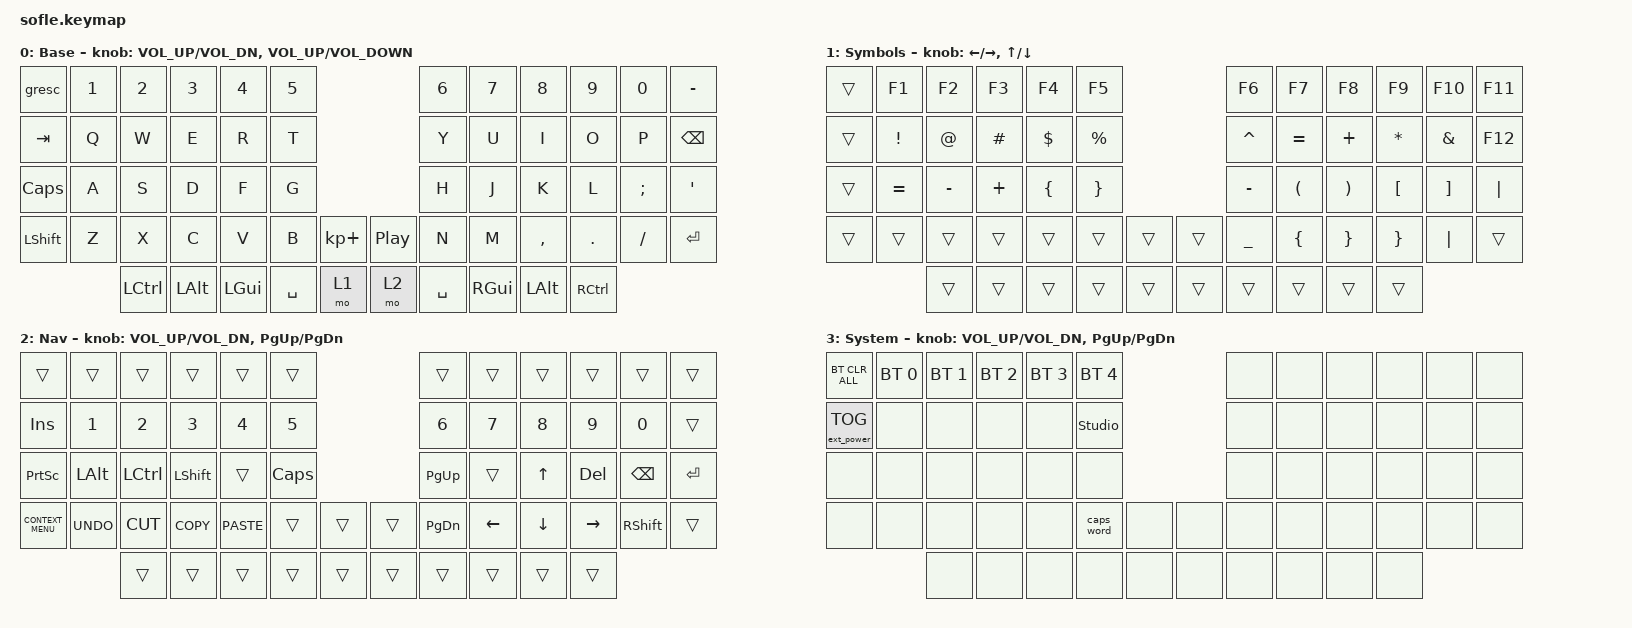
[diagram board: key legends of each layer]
/*
 * Copyright (c) 2020 The ZMK Contributors
 *
 * SPDX-License-Identifier: MIT
 */

#include <behaviors.dtsi>
#include <dt-bindings/zmk/bt.h>
#include <dt-bindings/zmk/ext_power.h>
#include <dt-bindings/zmk/keys.h>

#define BASE 0
#define LOWER 1
#define RAISE 2
#define ADJUST 3

/ {
    // Activate ADJUST layer by pressing raise and lower

    conditional_layers {
        compatible = "zmk,conditional-layers";

        adjust_layer {
            if-layers = <LOWER RAISE>;
            then-layer = <ADJUST>;
        };
    };

    combos {
        compatible = "zmk,combos";

        backspace {
            bindings = <&kp BACKSPACE>;
            key-positions = <32 31>;
        };

        delete {
            bindings = <&kp DELETE>;
            key-positions = <27 33>;
        };

        esc {
            bindings = <&kp ESCAPE>;
            key-positions = <25 41>;
        };
    };

    behaviors {
        caps: caps {
            compatible = "zmk,behavior-caps-word";
            label = "CAPS";
            #binding-cells = <0>;
            continue-list = <POUND MINUS BACKSPACE UNDERSCORE>;
        };
    };

    keymap {
        compatible = "zmk,keymap";

        default_layer {
            display-name = "Base";

            // ------------------------------------------------------------------------------------------------------------
            // |   `   |  1  |  2  |  3   |  4   |  5   |                   |  6   |  7    |  8    |  9   |   0   |       |
            // |  ESC  |  Q  |  W  |  E   |  R   |  T   |                   |  Y   |  U    |  I    |  O   |   P   | BKSPC |
            // |  TAB  |  A  |  S  |  D   |  F   |  G   |                   |  H   |  J    |  K    |  L   |   ;   |   '   |
            // | SHIFT |  Z  |  X  |  C   |  V   |  B   |  MUTE  |  |       |  N   |  M    |  ,    |  .   |   /   | SHIFT |
            //               | GUI | ALT  | CTRL | LOWER|  ENTER |  | SPACE | RAISE| CTRL  | ALT   | GUI  |

            bindings = <
&gresc          &kp N1  &kp N2     &kp N3    &kp N4    &kp N5                                      &kp N6     &kp N7    &kp N8     &kp N9     &kp N0    &kp MINUS
&kp TAB         &kp Q   &kp W      &kp E     &kp R     &kp T                                       &kp Y      &kp U     &kp I      &kp O      &kp P     &kp BSPC
&kp CAPS        &kp A   &kp S      &kp D     &kp F     &kp G                                       &kp H      &kp J     &kp K      &kp L      &kp SEMI  &kp SINGLE_QUOTE
&kp LEFT_SHIFT  &kp Z   &kp X      &kp C     &kp V     &kp B      &kp KP_PLUS    &kp C_PLAY_PAUSE  &kp N      &kp M     &kp COMMA  &kp DOT    &kp FSLH  &kp ENTER
                        &kp LCTRL  &kp LALT  &kp LGUI  &kp SPACE  &mo 1          &mo 2             &kp SPACE  &kp RGUI  &kp LALT   &kp RCTRL
            >;

            sensor-bindings =
                <&inc_dec_kp C_VOL_UP C_VOL_DN>,
                <&inc_dec_kp C_VOLUME_UP C_VOLUME_DOWN>;
        };

        lower_layer {
            display-name = "Symbols";

            // TODO: Some binds are waiting for shifted keycode support.
            // ------------------------------------------------------------------------------------------------------------
            // |       |  F1 |  F2 |  F3  |  F4  |  F5  |                   |  F6  |  F7   |  F8   |  F9  |  F10  |  F11  |
            // |   `   |  1  |  2  |  3   |  4   |  5   |                   |  6   |  7    |  8    |  9   |   0   |  F12  |
            // |       |  !  |  @  |  #   |  $   |  %   |                   |  ^   |  &    |  *    |  (   |   )   |   |   |
            // |       |  =  |  -  |  +   |  {   |  }   |        |  |       |  [   |  ]    |  ;    |  :   |   \   |       |
            //               |     |      |      |      |        |  |       |      |       |       |      |

            bindings = <
&trans  &kp F1           &kp F2       &kp F3    &kp F4          &kp F5                             &kp F6          &kp F7                &kp F8                 &kp F9            &kp F10            &kp F11
&trans  &kp EXCLAMATION  &kp AT_SIGN  &kp HASH  &kp DOLLAR      &kp PERCENT                        &kp CARET       &kp EQUAL             &kp PLUS               &kp ASTERISK      &kp AMPERSAND      &kp F12
&trans  &kp EQUAL        &kp MINUS    &kp PLUS  &kp LEFT_BRACE  &kp RIGHT_BRACE                    &kp MINUS       &kp LEFT_PARENTHESIS  &kp RIGHT_PARENTHESIS  &kp LEFT_BRACKET  &kp RIGHT_BRACKET  &kp PIPE
&trans  &trans           &trans       &trans    &trans          &trans           &trans    &trans  &kp UNDERSCORE  &kp LEFT_BRACE        &kp RIGHT_BRACE        &kp RIGHT_BRACE   &kp PIPE           &trans
                         &trans       &trans    &trans          &trans           &trans    &trans  &trans          &trans                &trans                 &trans
            >;

            sensor-bindings =
                <&inc_dec_kp LEFT_ARROW RIGHT_ARROW>,
                <&inc_dec_kp UP_ARROW DOWN_ARROW>;
        };

        raise_layer {
            display-name = "Nav";

            // ------------------------------------------------------------------------------------------------------------
            // | BTCLR | BT1  | BT2  |  BT3  |  BT4  |  BT5 |                |      |      |       |      |       |       |
            // |       | INS  | PSCR | GUI   |       |      |                | PGUP |      |   ^   |      |       |       |
            // |       | ALT  | CTRL | SHIFT |       | CAPS |                | PGDN |   <- |   v   |  ->  |  DEL  | BKSPC |
            // |       | UNDO | CUT  | COPY  | PASTE |      |      |  |      |      |      |       |      |       |       |
            //                |      |       |       |      |      |  |      |      |      |       |      |

            bindings = <
&trans              &trans        &trans        &trans        &trans        &trans                      &trans         &trans    &trans        &trans      &trans           &trans
&kp INSERT          &kp NUMBER_1  &kp NUMBER_2  &kp NUMBER_3  &kp NUMBER_4  &kp N5                      &kp NUMBER_6   &kp N7    &kp N8        &kp N9      &kp N0           &trans
&kp PRINTSCREEN     &kp LALT      &kp LCTRL     &kp LSHFT     &trans        &kp CLCK                    &kp PG_UP      &trans    &kp UP_ARROW  &kp DELETE  &kp BACKSPACE    &kp ENTER
&kp K_CONTEXT_MENU  &kp K_UNDO    &kp K_CUT     &kp K_COPY    &kp K_PASTE   &trans    &trans    &trans  &kp PAGE_DOWN  &kp LEFT  &kp DOWN      &kp RIGHT   &kp RIGHT_SHIFT  &trans
                                  &trans        &trans        &trans        &trans    &trans    &trans  &trans         &trans    &trans        &trans
            >;

            sensor-bindings = <&inc_dec_kp C_VOL_UP C_VOL_DN &inc_dec_kp PG_UP PG_DN>;
        };

        adjust_layer {
            // ----------------------------------------------------------------------------------------------------------------------------
            // | BTCLR  |  BT1    |  BT2    |   BT3   |   BT4   |   BT5   |                  |      |      |       |      |       |       |
            // | EXTPWR | RGB_HUD | RGB_HUI | RGB_SAD | RGB_SAI | RGB_EFF |                  |      |      |       |      |       |       |
            // |        | RGB_BRD | RGB_BRI |         |         |         |                  |      |      |       |      |       |       |
            // |        |         |         |         |         |         | RGB_TOG | |      |      |      |       |      |       |       |
            //                    |         |         |         |         |         | |      |      |      |       |      |

            display-name = "System";
            bindings = <
&bt BT_CLR_ALL     &bt BT_SEL 0  &bt BT_SEL 1  &bt BT_SEL 2  &bt BT_SEL 3  &bt BT_SEL 4                    &none  &none  &none  &none  &none  &none
&ext_power EP_TOG  &none         &none         &none         &none         &studio_unlock                  &none  &none  &none  &none  &none  &none
&none              &none         &none         &none         &none         &none                           &none  &none  &none  &none  &none  &none
&none              &none         &none         &none         &none         &caps_word      &none    &none  &none  &none  &none  &none  &none  &none
                                 &none         &none         &none         &none           &none    &none  &none  &none  &none  &none
            >;

            sensor-bindings = <&inc_dec_kp C_VOL_UP C_VOL_DN &inc_dec_kp PG_UP PG_DN>;
        };
    };
};
